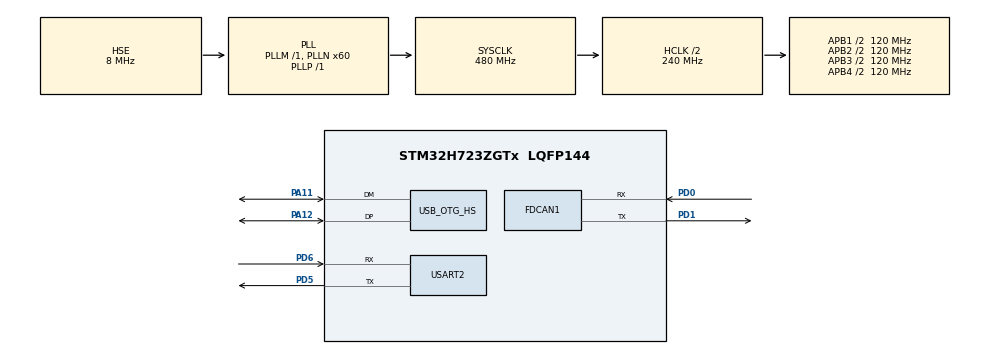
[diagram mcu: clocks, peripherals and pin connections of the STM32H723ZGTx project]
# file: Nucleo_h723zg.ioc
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Dma.Request0=USART2_RX
Dma.USART2_RX.0.Direction=DMA_PERIPH_TO_MEMORY
Dma.USART2_RX.0.EventEnable=DISABLE
Dma.USART2_RX.0.FIFOMode=DMA_FIFOMODE_DISABLE
Dma.USART2_RX.0.Instance=DMA1_Stream0
Dma.USART2_RX.0.MemDataAlignment=DMA_MDATAALIGN_BYTE
Dma.USART2_RX.0.MemInc=DMA_MINC_ENABLE
Dma.USART2_RX.0.Mode=DMA_NORMAL
Dma.USART2_RX.0.PeriphDataAlignment=DMA_PDATAALIGN_BYTE
Dma.USART2_RX.0.PeriphInc=DMA_PINC_DISABLE
Dma.USART2_RX.0.Polarity=HAL_DMAMUX_REQ_GEN_RISING
Dma.USART2_RX.0.Priority=DMA_PRIORITY_LOW
Dma.USART2_RX.0.RequestNumber=1
Dma.USART2_RX.0.SignalID=NONE
Dma.USART2_RX.0.SyncEnable=DISABLE
Dma.USART2_RX.0.SyncPolarity=HAL_DMAMUX_SYNC_NO_EVENT
Dma.USART2_RX.0.SyncRequestNumber=1
Dma.USART2_RX.0.SyncSignalID=NONE
FDCAN1.AutoRetransmission=ENABLE
FDCAN1.CalculateBaudRateNominal=999999
FDCAN1.CalculateTimeBitNominal=1000
FDCAN1.CalculateTimeQuantumNominal=83.33333333333334
FDCAN1.ExtFiltersNbr=1
FDCAN1.NominalPrescaler=10
FDCAN1.NominalTimeSeg1=4
FDCAN1.NominalTimeSeg2=7
FDCAN1.RxFifo0ElmtsNbr=32
FDCAN1.RxFifo1ElmtsNbr=32
FDCAN1.StdFiltersNbr=1
FDCAN1.TxFifoQueueElmtsNbr=32
Mcu.Family=STM32H7
Mcu.Name=STM32H723ZGTx
Mcu.Package=LQFP144
NVIC.DMA1_Stream0_IRQn=true\:0\:0\:false\:false\:true\:false\:true\:true
NVIC.FDCAN1_IT0_IRQn=true\:0\:0\:false\:false\:true\:true\:true\:true
NVIC.FDCAN1_IT1_IRQn=true\:0\:0\:false\:false\:true\:true\:true\:true
NVIC.OTG_HS_IRQn=true\:0\:0\:false\:false\:true\:false\:true\:true
NVIC.PriorityGroup=NVIC_PRIORITYGROUP_4
NVIC.TIM1_UP_IRQn=true\:0\:0\:false\:false\:true\:true\:true\:true
NVIC.USART2_IRQn=true\:0\:0\:false\:false\:true\:true\:true\:true
PA11.Mode=Device_Only_FS
PA11.Signal=USB_OTG_HS_DM
PA12.Mode=Device_Only_FS
PA12.Signal=USB_OTG_HS_DP
PD0.Mode=FDCAN_Activate
PD0.Signal=FDCAN1_RX
PD1.Mode=FDCAN_Activate
PD1.Signal=FDCAN1_TX
PD5.GPIO_ModeDefaultPP=GPIO_MODE_AF_PP
PD5.GPIO_PuPd=GPIO_NOPULL
PD5.GPIO_Speed=GPIO_SPEED_FREQ_VERY_HIGH
PD5.Mode=Asynchronous
PD5.Signal=USART2_TX
PD6.Mode=Asynchronous
PD6.Signal=USART2_RX
PH0-OSC_IN.Mode=HSE-External-Oscillator
PH0-OSC_IN.Signal=RCC_OSC_IN
PH1-OSC_OUT.Mode=HSE-External-Oscillator
PH1-OSC_OUT.Signal=RCC_OSC_OUT
ProjectManager.HeapSize=0x200
ProjectManager.StackSize=0x400
ProjectManager.TargetToolchain=Makefile
RCC.ADCFreq_Value=16125000
RCC.APB1Freq_Value=120000000
RCC.APB2Freq_Value=120000000
RCC.APB3Freq_Value=120000000
RCC.APB4Freq_Value=120000000
RCC.CortexFreq_Value=480000000
RCC.D1PPRE=RCC_APB3_DIV2
RCC.D2PPRE1=RCC_APB1_DIV2
RCC.D2PPRE2=RCC_APB2_DIV2
RCC.D3PPRE=RCC_APB4_DIV2
RCC.DIVM1=1
RCC.DIVN1=60
RCC.DIVP1=1
RCC.DIVQ1=4
RCC.HCLKFreq_Value=240000000
RCC.HPRE=RCC_HCLK_DIV2
RCC.HSE_VALUE=8000000
RCC.PLL2FRACN=0
RCC.PLL3FRACN=0
RCC.PLLFRACN=0
RCC.PLLSourceVirtual=RCC_PLLSOURCE_HSE
RCC.SYSCLKFreq_VALUE=480000000
RCC.SYSCLKSource=RCC_SYSCLKSOURCE_PLLCLK
RCC.USBCLockSelection=RCC_USBCLKSOURCE_HSI48
RCC.USBFreq_Value=48000000
TIM1.AutoReloadPreload=TIM_AUTORELOAD_PRELOAD_ENABLE
TIM1.Period=999
TIM1.Prescaler=239
USART2.VirtualMode-Asynchronous=VM_ASYNC
USB_DEVICE.CLASS_NAME_HS=CDC
USB_DEVICE.VirtualMode=Cdc
USB_DEVICE.VirtualModeHS=Cdc_HS
USB_OTG_HS.VirtualMode-Device_Only_FS=Device_Only_FS
VP_IWDG1_VS_IWDG.Mode=IWDG_Activate
VP_TIM1_VS_ClockSourceINT.Mode=Internal
VP_USB_DEVICE_VS_USB_DEVICE_CDC_HS.Mode=CDC_HS
board=custom

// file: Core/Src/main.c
/* USER CODE BEGIN Header */
/**
  ******************************************************************************
  * @file           : main.c
  * @brief          : Main program body
  ******************************************************************************
  * @attention
  *
  * Copyright (c) 2025 STMicroelectronics.
  * All rights reserved.
  *
  * This software is licensed under terms that can be found in the LICENSE file
  * in the root directory of this software component.
  * If no LICENSE file comes with this software, it is provided AS-IS.
  *
  ******************************************************************************
  */
/* USER CODE END Header */
#include "main.h"
#include "dma.h"
#include "fdcan.h"
#include "iwdg.h"
#include "tim.h"
#include "usart.h"
#include "usb_device.h"
#include "gpio.h"

/* USER CODE BEGIN Includes */
#include "fdcan_filter.h"
#include "hollysys.h"
#include "chassis.h"
#include "motorevo.h"
#include "lift.h"
/* USER CODE END Includes */

/* USER CODE BEGIN PV */
u8 query_chassis_flag = 0;
u8 update_chasis_flag = 0;
u8 stop_flag = 0;
u8 usb_rx_buf[100] = {0};
/* USER CODE END PV */

void SystemClock_Config(void);

int main(void)
{
  /* USER CODE BEGIN 1 */
  // SCB_DisableDCache();
  /* USER CODE END 1 */

  /* MCU Configuration--------------------------------------------------------*/

  /* Reset of all peripherals, Initializes the Flash interface and the Systick. */
  HAL_Init();

  /* Configure the system clock */
  SystemClock_Config();

  /* Initialize all configured peripherals */
  MX_GPIO_Init();
  // MX_IWDG1_Init();
  MX_FDCAN1_Init();
  MX_USB_DEVICE_Init();
  MX_TIM1_Init();
  MX_DMA_Init();
  MX_USART2_UART_Init();
  /* USER CODE BEGIN 2 */
  /*                 start usb receive          */
  // USBD_CDC_SetRxBuffer(&hUsbDeviceHS, usb_rx_buf);
  // USBD_CDC_ReceivePacket(&hUsbDeviceHS);

  /*          start can communication service          */
  uint8_t filter_init = FDCAN_filter_init(&hfdcan1);
  while(HAL_FDCAN_Start(&hfdcan1) != HAL_OK){}
  HAL_FDCAN_ActivateNotification(&hfdcan1, FDCAN_IT_RX_FIFO0_NEW_MESSAGE, 0);

  /*          start timer service         */
  HAL_TIM_Base_Start_IT(&htim1);

  /*          start usart service           */
  // __HAL_UART_CLEAR_OREFLAG(&huart2);
  // HAL_UART_AbortReceive(&huart2);
  // int idle_state = HAL_UARTEx_ReceiveToIdle_DMA(&huart2, uart2_rx_buf, USART_RX_BUF_SIZE);
  // __HAL_DMA_DISABLE_IT(huart2.hdmarx, DMA_IT_HT);
  HAL_UART_Receive_IT(&huart2, uart2_rx_buf, 6); // 3byte represent spd_x, spd_y, spd_z

  /*         init for txHeader         */
  txHeader.Identifier = 0x101;
  txHeader.IdType = FDCAN_STANDARD_ID;
  txHeader.TxFrameType = FDCAN_DATA_FRAME;
  txHeader.DataLength = FDCAN_DLC_BYTES_8;
  txHeader.BitRateSwitch = FDCAN_BRS_OFF;
  txHeader.FDFormat = FDCAN_CLASSIC_CAN;
  txHeader.TxEventFifoControl = FDCAN_NO_TX_EVENTS;

  /* USER CODE END 2 */

  /* Infinite loop */
  /* USER CODE BEGIN WHILE */

  // Chassis_Init();

  // Chassis_Tidybot(0, 500, 0);
  // Chassis_Set_steer_pos();
  // Chassis_Set_drive_spd();
  // Chassis_Update();

  // HAL_Delay(5000);

  // Chassis_Tidybot(0, 0, 0);
  // Chassis_Set_steer_pos();
  // Chassis_Set_drive_spd();
  // Chassis_Update();

  // HAL_Delay(2000);

  // Chassis_Deinit();

  // HAL_Delay(1000);
  // Chassis_Init();

  // for(u8 i = 0; i < DRIVE_MOTOR_NUM; i++){
  //   drive_motor_spd_cmd[i] = 0;
  // }
  // Chassis_Set_drive_spd();
  // for(u8 i = 0; i < STEER_MOTOR_NUM; i++){
  //   steer_motor_pos_cmd[i] = steer_forward_pos[i];
  // }
  // float test_angle[4] = {pi / 2, pi / 2, pi / 2, pi / 2};
  // Chassis_Set_steer_angle(test_angle);
  // Chassis_Set_steer_pos();

  // // Chassis_Update();
  // Motorevo_Update();
  // Motorevo_Update_State();

  // HAL_Delay(5000);
  // Chassis_Deinit();

  // Motorevo_Activate(0x06);
  // Motorevo_Activate(0x05);
  // Motorevo_Activate(0x07);
  // Motorevo_Activate(0x08);
  // // Motorevo_SetPos(0x08, 1.8, 5.0);
  // HAL_Delay(5000);
  // Motorevo_Update_State();
  // Motorevo_Reset(0x06);
  // Motorevo_Reset(0x05);
  // Motorevo_Reset(0x07);
  // Motorevo_Reset(0x08);

  // HAL_Delay(1000);

  // uint8_t buf[10] = "abc\n";
  // Chassis_Deinit();

  // Chassis_Init();
  // Chassis_Tidybot(0, 0, 0);
  // HAL_Delay(1000);
  // Chassis_Tidybot(0, 5, 0);
  // HAL_Delay(1000);
  // Chassis_Tidybot(0, 0, 0);
  // Chassis_Deinit();
  // char test_buf[10] = "abc\n";
  while (1)
  {
    // HAL_IWDG_Refresh(&hiwdg1);                    // watch dog
    /* USER CODE END WHILE */

    /* USER CODE BEGIN 3 */
  // Chassis_Info_Query();
  // Chassis_State_Update();
  // Chassis_drive_spd_decrease();
  // Chassis_Set_steer_pos();
  // Chassis_Set_drive_spd();
  // Chassis_Update();
  // HAL_Delay(5);
  // CDC_Transmit_HS((uint8_t*)test_buf, 4);
  HAL_Delay(2000);
  if(stop_flag)
    break;
  }
  Chassis_Deinit();
  /* USER CODE END 3 */
}

void SystemClock_Config(void)
{
  RCC_OscInitTypeDef RCC_OscInitStruct = {0};
  RCC_ClkInitTypeDef RCC_ClkInitStruct = {0};

  /** Supply configuration update enable
  */
  HAL_PWREx_ConfigSupply(PWR_LDO_SUPPLY);

  /** Configure the main internal regulator output voltage
  */
  __HAL_PWR_VOLTAGESCALING_CONFIG(PWR_REGULATOR_VOLTAGE_SCALE0);

  while(!__HAL_PWR_GET_FLAG(PWR_FLAG_VOSRDY)) {}

  /** Initializes the RCC Oscillators according to the specified parameters
  * in the RCC_OscInitTypeDef structure.
  */
  RCC_OscInitStruct.OscillatorType = RCC_OSCILLATORTYPE_HSI48|RCC_OSCILLATORTYPE_LSI
                              |RCC_OSCILLATORTYPE_HSE;
  RCC_OscInitStruct.HSEState = RCC_HSE_ON;
  RCC_OscInitStruct.LSIState = RCC_LSI_ON;
  RCC_OscInitStruct.HSI48State = RCC_HSI48_ON;
  RCC_OscInitStruct.PLL.PLLState = RCC_PLL_ON;
  RCC_OscInitStruct.PLL.PLLSource = RCC_PLLSOURCE_HSE;
  RCC_OscInitStruct.PLL.PLLM = 1;
  RCC_OscInitStruct.PLL.PLLN = 60;
  RCC_OscInitStruct.PLL.PLLP = 1;
  RCC_OscInitStruct.PLL.PLLQ = 4;
  RCC_OscInitStruct.PLL.PLLR = 2;
  RCC_OscInitStruct.PLL.PLLRGE = RCC_PLL1VCIRANGE_3;
  RCC_OscInitStruct.PLL.PLLVCOSEL = RCC_PLL1VCOWIDE;
  RCC_OscInitStruct.PLL.PLLFRACN = 0;
  if (HAL_RCC_OscConfig(&RCC_OscInitStruct) != HAL_OK)
  {
    Error_Handler();
  }

  /** Initializes the CPU, AHB and APB buses clocks
  */
  RCC_ClkInitStruct.ClockType = RCC_CLOCKTYPE_HCLK|RCC_CLOCKTYPE_SYSCLK
                              |RCC_CLOCKTYPE_PCLK1|RCC_CLOCKTYPE_PCLK2
                              |RCC_CLOCKTYPE_D3PCLK1|RCC_CLOCKTYPE_D1PCLK1;
  RCC_ClkInitStruct.SYSCLKSource = RCC_SYSCLKSOURCE_PLLCLK;
  RCC_ClkInitStruct.SYSCLKDivider = RCC_SYSCLK_DIV1;
  RCC_ClkInitStruct.AHBCLKDivider = RCC_HCLK_DIV2;
  RCC_ClkInitStruct.APB3CLKDivider = RCC_APB3_DIV2;
  RCC_ClkInitStruct.APB1CLKDivider = RCC_APB1_DIV2;
  RCC_ClkInitStruct.APB2CLKDivider = RCC_APB2_DIV2;
  RCC_ClkInitStruct.APB4CLKDivider = RCC_APB4_DIV2;

  if (HAL_RCC_ClockConfig(&RCC_ClkInitStruct, FLASH_LATENCY_3) != HAL_OK)
  {
    Error_Handler();
  }
}

void Error_Handler(void)
{
  __disable_irq();
  while (1)
  {
  }
}
